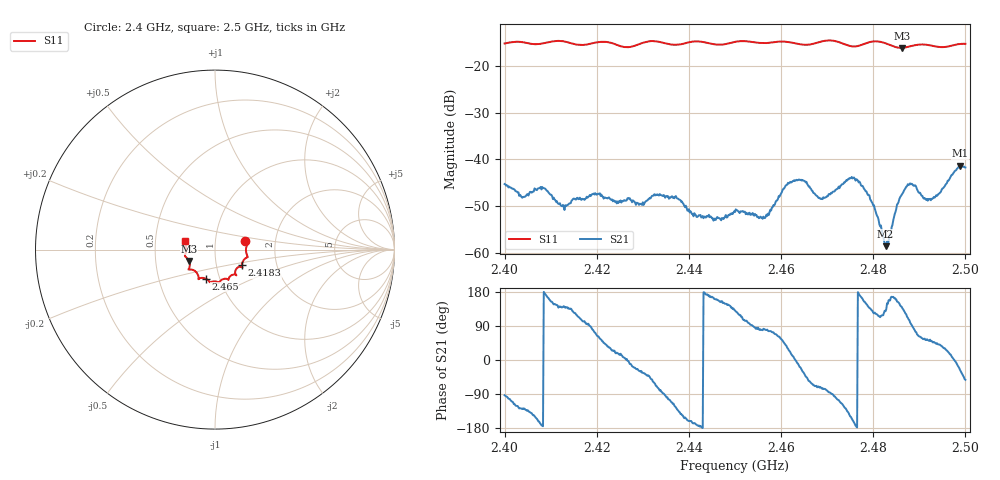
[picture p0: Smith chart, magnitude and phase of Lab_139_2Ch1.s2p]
# Hz S RI R 50
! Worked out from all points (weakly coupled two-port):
!   601 points, 2.4 GHz to 2.5 GHz, reference 50 ohm
!   highest |S21| = -41.35 dB at 2.4988 GHz (marker M1); lowest = -58.6 dB at 2.4827 GHz (marker M2)
!   lowest |S11| = -16.1 dB at 2.4862 GHz (marker M3), VSWR 1.37, Z = 37.1 - j4.8 ohm
!   |S11| at or under -10 dB: start of sweep to end of sweep
!   S12 and S22 are empty: the file has one direction only
!   S11 on the Smith chart (normalised r, x): 2.4 GHz: 1.40, +0.13; 2.4183 GHz: 1.33, -0.24; 2.465 GHz: 0.86, -0.29; 2.5 GHz: 0.71, +0.07
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2.4e9  0.1693 0.0458  -0.000293 -0.00543  0 0  0 0
2.408333e9  0.175 -0.0198  -0.00492 -0.000451  0 0  0 0
2.412667e9  0.1805 -0.0432  -0.0025 0.00208  0 0  0 0
2.416667e9  0.1546 -0.0679  -0.001 0.00353  0 0  0 0
2.418333e9  0.1499 -0.087  -0.000132 0.00402  0 0  0 0
2.433333e9  0.1175 -0.1409  0.00113 -0.004  0 0  0 0
2.4415e9  0.0749 -0.169  -0.00248 -0.000452  0 0  0 0
2.45e9  0.0252 -0.1808  -0.00178 0.00206  0 0  0 0
2.4565e9  -0.00505 -0.1771  0.00039 0.00231  0 0  0 0
2.4615e9  -0.0308 -0.1794  0.00486 0.0028  0 0  0 0
2.465e9  -0.0525 -0.1617  0.00479 -0.00342  0 0  0 0
2.466667e9  -0.0714 -0.1572  0.00213 -0.00411  0 0  0 0
2.469e9  -0.0898 -0.1623  0.00101 -0.00361  0 0  0 0
2.476167e9  -0.112 -0.1189  -0.00588 -0.000705  0 0  0 0
2.479667e9  -0.1462 -0.111  -0.00229 0.00264  0 0  0 0
2.482667e9  -0.1435 -0.1024  -0.000731 0.000915  0 0  0 0
2.483333e9  -0.1415 -0.0964  -0.00125 0.000508  0 0  0 0
2.486167e9  -0.1441 -0.063  -0.0032 0.00264  0 0  0 0
2.488e9  -0.157 -0.0465  -0.000872 0.00546  0 0  0 0
2.493e9  -0.1639 -0.0199  0.00266 0.00278  0 0  0 0
2.498833e9  -0.1682 0.0414  0.00767 -0.00378  0 0  0 0
2.5e9  -0.1674 0.047  0.00501 -0.00647  0 0  0 0
